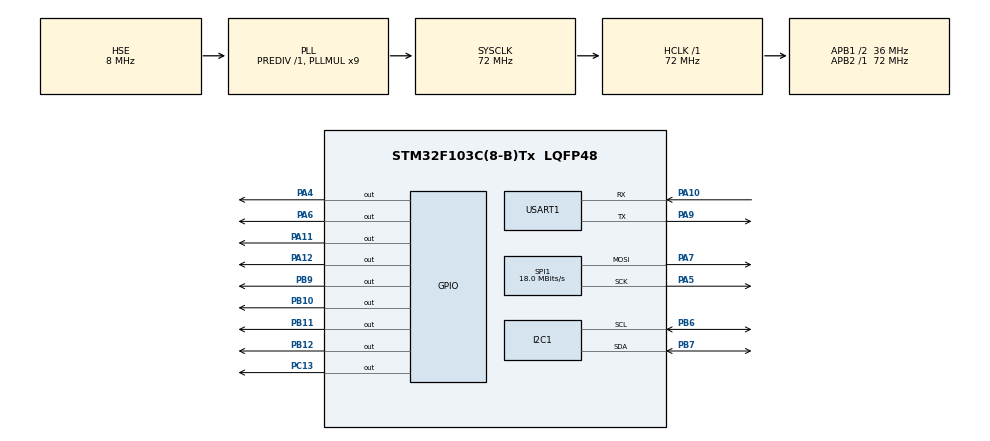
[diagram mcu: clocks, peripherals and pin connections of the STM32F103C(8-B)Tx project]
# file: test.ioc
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Dma.Request0=SPI1_TX
Dma.SPI1_TX.0.Direction=DMA_MEMORY_TO_PERIPH
Dma.SPI1_TX.0.Instance=DMA1_Channel3
Dma.SPI1_TX.0.MemDataAlignment=DMA_MDATAALIGN_BYTE
Dma.SPI1_TX.0.MemInc=DMA_MINC_ENABLE
Dma.SPI1_TX.0.Mode=DMA_NORMAL
Dma.SPI1_TX.0.PeriphDataAlignment=DMA_PDATAALIGN_BYTE
Dma.SPI1_TX.0.PeriphInc=DMA_PINC_DISABLE
Dma.SPI1_TX.0.Priority=DMA_PRIORITY_LOW
Mcu.Family=STM32F1
Mcu.Name=STM32F103C(8-B)Tx
Mcu.Package=LQFP48
NVIC.DMA1_Channel3_IRQn=true\:0\:0\:false\:false\:true\:false\:true\:true
NVIC.PriorityGroup=NVIC_PRIORITYGROUP_4
NVIC.SPI1_IRQn=true\:0\:0\:false\:false\:true\:true\:true\:true
PA10.Mode=Asynchronous
PA10.Signal=USART1_RX
PA11.GPIO_Speed=GPIO_SPEED_FREQ_HIGH
PA11.PinState=GPIO_PIN_SET
PA11.Signal=GPIO_Output
PA12.GPIO_Speed=GPIO_SPEED_FREQ_HIGH
PA12.PinState=GPIO_PIN_SET
PA12.Signal=GPIO_Output
PA13.Mode=Serial_Wire
PA13.Signal=SYS_JTMS-SWDIO
PA14.Mode=Serial_Wire
PA14.Signal=SYS_JTCK-SWCLK
PA4.GPIO_Speed=GPIO_SPEED_FREQ_HIGH
PA4.PinState=GPIO_PIN_RESET
PA4.Signal=GPIO_Output
PA5.Mode=TX_Only_Simplex_Unidirect_Master
PA5.Signal=SPI1_SCK
PA6.GPIO_Speed=GPIO_SPEED_FREQ_HIGH
PA6.Signal=GPIO_Output
PA7.Mode=TX_Only_Simplex_Unidirect_Master
PA7.Signal=SPI1_MOSI
PA9.Mode=Asynchronous
PA9.Signal=USART1_TX
PB10.GPIO_Speed=GPIO_SPEED_FREQ_HIGH
PB10.Signal=GPIO_Output
PB11.GPIO_Speed=GPIO_SPEED_FREQ_HIGH
PB11.Signal=GPIO_Output
PB12.GPIO_Speed=GPIO_SPEED_FREQ_HIGH
PB12.Signal=GPIO_Output
PB6.Mode=I2C
PB6.Signal=I2C1_SCL
PB7.Mode=I2C
PB7.Signal=I2C1_SDA
PB9.GPIO_Speed=GPIO_SPEED_FREQ_HIGH
PB9.Signal=GPIO_Output
PC13-TAMPER-RTC.GPIO_PuPd=GPIO_PULLDOWN
PC13-TAMPER-RTC.GPIO_Speed=GPIO_SPEED_FREQ_HIGH
PC13-TAMPER-RTC.Signal=GPIO_Output
PD0-OSC_IN.Mode=HSE-External-Oscillator
PD0-OSC_IN.Signal=RCC_OSC_IN
PD1-OSC_OUT.Mode=HSE-External-Oscillator
PD1-OSC_OUT.Signal=RCC_OSC_OUT
ProjectManager.HeapSize=0x200
ProjectManager.StackSize=0x400
ProjectManager.TargetToolchain=MDK-ARM V5.32
RCC.AHBFreq_Value=72000000
RCC.APB1CLKDivider=RCC_HCLK_DIV2
RCC.APB1Freq_Value=36000000
RCC.APB1TimFreq_Value=72000000
RCC.APB2Freq_Value=72000000
RCC.APB2TimFreq_Value=72000000
RCC.HCLKFreq_Value=72000000
RCC.PLLMUL=RCC_PLL_MUL9
RCC.PLLSourceVirtual=RCC_PLLSOURCE_HSE
RCC.SYSCLKFreq_VALUE=72000000
RCC.SYSCLKSource=RCC_SYSCLKSOURCE_PLLCLK
RCC.USBFreq_Value=72000000
SPI1.BaudRatePrescaler=SPI_BAUDRATEPRESCALER_4
SPI1.CalculateBaudRate=18.0 MBits/s
SPI1.Direction=SPI_DIRECTION_2LINES
SPI1.Mode=SPI_MODE_MASTER
SPI1.VirtualType=VM_MASTER
USART1.VirtualMode=VM_ASYNC
board=custom

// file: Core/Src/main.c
/* USER CODE BEGIN Header */
/**
  ******************************************************************************
  * @file           : main.c
  * @brief          : Main program body
  ******************************************************************************
  * @attention
  *
  * Copyright (c) 2025 STMicroelectronics.
  * All rights reserved.
  *
  * This software is licensed under terms that can be found in the LICENSE file
  * in the root directory of this software component.
  * If no LICENSE file comes with this software, it is provided AS-IS.
  *
  ******************************************************************************
  */
/* USER CODE END Header */
#include "main.h"
#include "dma.h"
#include "i2c.h"
#include "spi.h"
#include "usart.h"
#include "gpio.h"

/* USER CODE BEGIN Includes */
#include "lcd_st7735.h"
#include "stdio.h"
/* USER CODE END Includes */

/* USER CODE BEGIN PTD */
uint32_t sys_clk=0;
/* USER CODE END PTD */

/* USER CODE BEGIN PV */
#include <string.h>

#define ADDR_24LCxx_Write 0xA0
#define ADDR_24LCxx_Read 0xA1
uint8_t writedat;
uint8_t readdat;
/* USER CODE END PV */

void SystemClock_Config(void);

int main(void)
{

  /* MCU Configuration--------------------------------------------------------*/

  /* Reset of all peripherals, Initializes the Flash interface and the Systick. */
  HAL_Init();

  /* Configure the system clock */
  SystemClock_Config();

  /* Initialize all configured peripherals */
  MX_GPIO_Init();
  MX_DMA_Init();
  MX_USART1_UART_Init();
  MX_I2C1_Init();
  MX_SPI1_Init();
  /* USER CODE BEGIN 2 */
	tft_init();
	lcd_clear(WHITE);
//  TFT_ShowChar(0, 0, 'A', BLUE, YELLOW, 16);
  LCD_ShowCharStr(0, 0, 80, "HELLOWORLD", YELLOW, BLACK, 16);
//  LCD_ShowCharNumber(48,64,128,20,YELLOW,BLACK,12);
//  LCD_ShowCharNumber(60,64,128,22,YELLOW,BLACK,12);
//  TFT_ShowChar(64, 0, 'Y', BLUE, OLIVE, 32);

//  for(uint8_t i=32;i<80;i++)
//  {
//	  draw_point(i, 128, PURPLE);
//  }

//IICʵ��
/*
HAL_I2C_Mem_Write()
HAL_I2C_Mem_Read()
*/

//    writedat=0x46;    /* WriteBuffer init */
//		HAL_I2C_Mem_Write(&hi2c1, ADDR_24LCxx_Write,16, I2C_MEMADD_SIZE_16BIT,&writedat,8, 1000);
//		HAL_Delay(20);
		HAL_I2C_Mem_Read(&hi2c1, ADDR_24LCxx_Read, 0, I2C_MEMADD_SIZE_16BIT,&readdat,1, 1000);
		printf("1:0x%2X\r\n",readdat);
		HAL_Delay(20);
		HAL_I2C_Mem_Read(&hi2c1, ADDR_24LCxx_Read, 16, I2C_MEMADD_SIZE_16BIT,&readdat,1, 1000);
		printf("2:0x%2X\r\n",readdat);
  /* USER CODE END 2 */

  /* Infinite loop */
  /* USER CODE BEGIN WHILE */
  while (1)
  {
//		HAL_Delay(1000);
//		HAL_GPIO_WritePin(GPIOC,GPIO_PIN_13,GPIO_PIN_SET);
//		HAL_Delay(1000);
//		HAL_GPIO_WritePin(GPIOC,GPIO_PIN_13,GPIO_PIN_RESET);
//		printf("hello world\r\n");

    /* USER CODE END WHILE */

  }
}

void SystemClock_Config(void)
{
  RCC_OscInitTypeDef RCC_OscInitStruct = {0};
  RCC_ClkInitTypeDef RCC_ClkInitStruct = {0};

  /** Initializes the RCC Oscillators according to the specified parameters
  * in the RCC_OscInitTypeDef structure.
  */
  RCC_OscInitStruct.OscillatorType = RCC_OSCILLATORTYPE_HSE;
  RCC_OscInitStruct.HSEState = RCC_HSE_ON;
  RCC_OscInitStruct.HSEPredivValue = RCC_HSE_PREDIV_DIV1;
  RCC_OscInitStruct.HSIState = RCC_HSI_ON;
  RCC_OscInitStruct.PLL.PLLState = RCC_PLL_ON;
  RCC_OscInitStruct.PLL.PLLSource = RCC_PLLSOURCE_HSE;
  RCC_OscInitStruct.PLL.PLLMUL = RCC_PLL_MUL9;
  if (HAL_RCC_OscConfig(&RCC_OscInitStruct) != HAL_OK)
  {
    Error_Handler();
  }

  /** Initializes the CPU, AHB and APB buses clocks
  */
  RCC_ClkInitStruct.ClockType = RCC_CLOCKTYPE_HCLK|RCC_CLOCKTYPE_SYSCLK
                              |RCC_CLOCKTYPE_PCLK1|RCC_CLOCKTYPE_PCLK2;
  RCC_ClkInitStruct.SYSCLKSource = RCC_SYSCLKSOURCE_PLLCLK;
  RCC_ClkInitStruct.AHBCLKDivider = RCC_SYSCLK_DIV1;
  RCC_ClkInitStruct.APB1CLKDivider = RCC_HCLK_DIV2;
  RCC_ClkInitStruct.APB2CLKDivider = RCC_HCLK_DIV1;

  if (HAL_RCC_ClockConfig(&RCC_ClkInitStruct, FLASH_LATENCY_2) != HAL_OK)
  {
    Error_Handler();
  }
}

void Error_Handler(void)
{
  __disable_irq();
  while (1)
  {
  }
}
